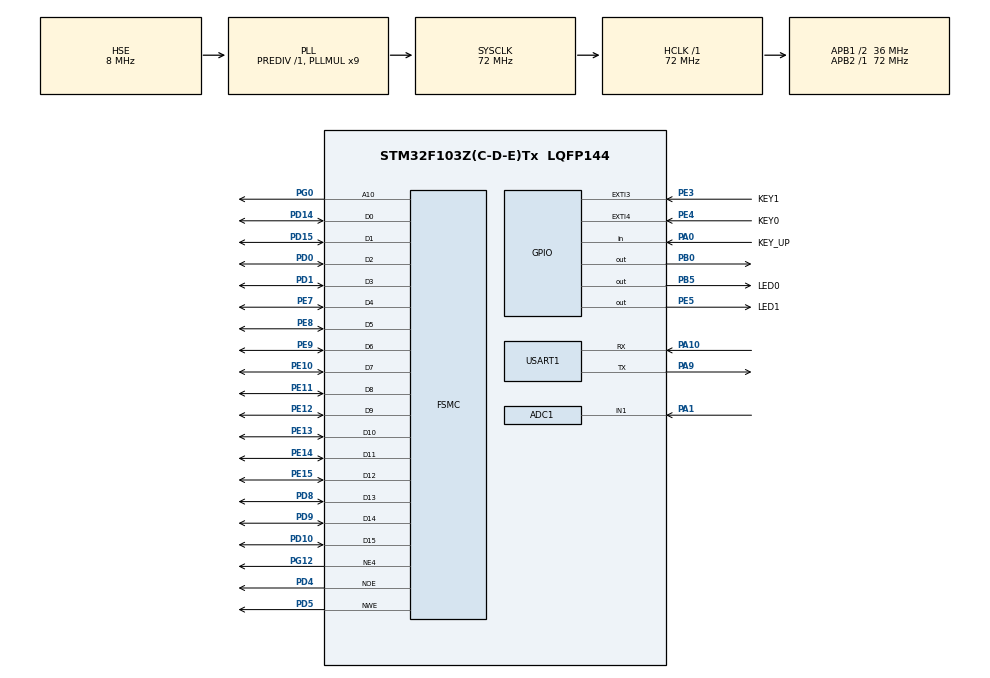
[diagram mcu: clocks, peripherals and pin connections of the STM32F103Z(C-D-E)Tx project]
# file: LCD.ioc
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ADC1.Channel-0\#ChannelRegularConversion=ADC_CHANNEL_1
ADC1.NbrOfConversionFlag=1
ADC1.Rank-0\#ChannelRegularConversion=1
ADC1.SamplingTime-0\#ChannelRegularConversion=ADC_SAMPLETIME_1CYCLE_5
ADC1.master=1
FSMC.AddressSetupTime1=6
FSMC.BusTurnAroundDuration1=0
FSMC.DataSetupTime1=26
FSMC.ExtendedAddressSetupTime1=3
FSMC.ExtendedBusTurnAroundDuration1=0
FSMC.ExtendedDataSetupTime1=6
FSMC.ExtendedMode1=FSMC_EXTENDED_MODE_ENABLE
Mcu.Family=STM32F1
Mcu.Name=STM32F103Z(C-D-E)Tx
Mcu.Package=LQFP144
NVIC.EXTI3_IRQn=true\:2\:1\:true\:false\:true\:true\:true
NVIC.EXTI4_IRQn=true\:2\:0\:true\:false\:true\:true\:true
NVIC.PriorityGroup=NVIC_PRIORITYGROUP_2
NVIC.TIM3_IRQn=true\:2\:2\:true\:false\:true\:true\:true
OSC_IN.Mode=HSE-External-Oscillator
OSC_IN.Signal=RCC_OSC_IN
OSC_OUT.Mode=HSE-External-Oscillator
OSC_OUT.Signal=RCC_OSC_OUT
PA0-WKUP.GPIO_Label=KEY_UP
PA0-WKUP.GPIO_PuPd=GPIO_PULLDOWN
PA0-WKUP.Signal=GPIO_Input
PA1.Signal=ADCx_IN1
PA10.Mode=Asynchronous
PA10.Signal=USART1_RX
PA13.Mode=Serial_Wire
PA13.Signal=SYS_JTMS-SWDIO
PA14.Mode=Serial_Wire
PA14.Signal=SYS_JTCK-SWCLK
PA9.Mode=Asynchronous
PA9.Signal=USART1_TX
PB0.GPIO_Speed=GPIO_SPEED_FREQ_HIGH
PB0.Signal=GPIO_Output
PB5.GPIO_Label=LED0
PB5.PinState=GPIO_PIN_SET
PB5.Signal=GPIO_Output
PC14-OSC32_IN.Mode=LSE-External-Oscillator
PC14-OSC32_IN.Signal=RCC_OSC32_IN
PC15-OSC32_OUT.Mode=LSE-External-Oscillator
PC15-OSC32_OUT.Signal=RCC_OSC32_OUT
PD0.Signal=FSMC_D2_DA2
PD1.Signal=FSMC_D3_DA3
PD10.Signal=FSMC_D15_DA15
PD14.Signal=FSMC_D0_DA0
PD15.Signal=FSMC_D1_DA1
PD4.Signal=FSMC_NOE
PD5.Signal=FSMC_NWE
PD8.Signal=FSMC_D13_DA13
PD9.Signal=FSMC_D14_DA14
PE10.Signal=FSMC_D7_DA7
PE11.Signal=FSMC_D8_DA8
PE12.Signal=FSMC_D9_DA9
PE13.Signal=FSMC_D10_DA10
PE14.Signal=FSMC_D11_DA11
PE15.Signal=FSMC_D12_DA12
PE3.GPIO_Label=KEY1
PE3.GPIO_ModeDefaultEXTI=GPIO_MODE_IT_FALLING
PE3.GPIO_PuPd=GPIO_PULLUP
PE3.Signal=GPXTI3
PE4.GPIO_Label=KEY0
PE4.GPIO_ModeDefaultEXTI=GPIO_MODE_IT_FALLING
PE4.GPIO_PuPd=GPIO_PULLUP
PE4.Signal=GPXTI4
PE5.GPIO_Label=LED1
PE5.PinState=GPIO_PIN_SET
PE5.Signal=GPIO_Output
PE7.Signal=FSMC_D4_DA4
PE8.Signal=FSMC_D5_DA5
PE9.Signal=FSMC_D6_DA6
PG0.Signal=FSMC_A10
PG12.Mode=NorPsramChipSelect4_1
PG12.Signal=FSMC_NE4
ProjectManager.HeapSize=0x200
ProjectManager.StackSize=0x400
ProjectManager.TargetToolchain=MDK-ARM V5
RCC.ADCPresc=RCC_ADCPCLK2_DIV6
RCC.AHBFreq_Value=72000000
RCC.APB1CLKDivider=RCC_HCLK_DIV2
RCC.APB1Freq_Value=36000000
RCC.APB1TimFreq_Value=72000000
RCC.APB2Freq_Value=72000000
RCC.APB2TimFreq_Value=72000000
RCC.HCLKFreq_Value=72000000
RCC.PLLMUL=RCC_PLL_MUL9
RCC.PLLSourceVirtual=RCC_PLLSOURCE_HSE
RCC.SYSCLKFreq_VALUE=72000000
RCC.SYSCLKSource=RCC_SYSCLKSOURCE_PLLCLK
RCC.USBFreq_Value=72000000
SH.ADCx_IN1.0=ADC1_IN1,IN1
SH.FSMC_A10.0=FSMC_A10,A10_1
SH.FSMC_D0_DA0.0=FSMC_D0,16b-d1
SH.FSMC_D10_DA10.0=FSMC_D10,16b-d1
SH.FSMC_D11_DA11.0=FSMC_D11,16b-d1
SH.FSMC_D12_DA12.0=FSMC_D12,16b-d1
SH.FSMC_D13_DA13.0=FSMC_D13,16b-d1
SH.FSMC_D14_DA14.0=FSMC_D14,16b-d1
SH.FSMC_D15_DA15.0=FSMC_D15,16b-d1
SH.FSMC_D1_DA1.0=FSMC_D1,16b-d1
SH.FSMC_D2_DA2.0=FSMC_D2,16b-d1
SH.FSMC_D3_DA3.0=FSMC_D3,16b-d1
SH.FSMC_D4_DA4.0=FSMC_D4,16b-d1
SH.FSMC_D5_DA5.0=FSMC_D5,16b-d1
SH.FSMC_D6_DA6.0=FSMC_D6,16b-d1
SH.FSMC_D7_DA7.0=FSMC_D7,16b-d1
SH.FSMC_D8_DA8.0=FSMC_D8,16b-d1
SH.FSMC_D9_DA9.0=FSMC_D9,16b-d1
SH.FSMC_NOE.0=FSMC_NOE,Lcd1
SH.FSMC_NWE.0=FSMC_NWE,Lcd1
TIM3.AutoReloadPreload=TIM_AUTORELOAD_PRELOAD_ENABLE
TIM3.Period=999
TIM3.Prescaler=71
USART1.VirtualMode=VM_ASYNC
VP_TIM3_VS_ClockSourceINT.Mode=Internal
board=custom

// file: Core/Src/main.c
/* USER CODE BEGIN Header */
/**
  ******************************************************************************
  * @file           : main.c
  * @brief          : Main program body
  ******************************************************************************
  * @attention
  *
  * <h2><center>&copy; Copyright (c) 2021 STMicroelectronics.
  * All rights reserved.</center></h2>
  *
  * This software component is licensed by ST under BSD 3-Clause license,
  * the "License"; You may not use this file except in compliance with the
  * License. You may obtain a copy of the License at:
  *                        opensource.org/licenses/BSD-3-Clause
  *
  ******************************************************************************
  */
/* USER CODE END Header */
#include "main.h"
#include "adc.h"
#include "tim.h"
#include "usart.h"
#include "gpio.h"
#include "fsmc.h"

/* USER CODE BEGIN Includes */
#include "ILI93xx.h"
#include "string.h"
#include "stdio.h"
#include "stm32_dsp.h"
#include "table_fft.h"
#include "math.h"
/* USER CODE END Includes */

/* USER CODE BEGIN PTD */

#define NPT 1024   				         //一次采集的点数
#define PI2 6.28318530717959

uint16_t i;
uint32_t adcx[NPT];					      //存储adc数据
uint32_t adcmax = 0;					    //最大值
uint32_t adcmin = 3300;				    //最小值
uint16_t vpp = 0;					        //峰峰值变量
int long fftin [NPT];			        //FFT输入
int long fftout[NPT];			        //FFT输出
uint32_t magout[NPT];
uint32_t magout2[NPT];
uint16_t t = 0;			              //定时器中断3计数变量
uint16_t Set_T = 1000;	          //TIM3自动重装载值
uint16_t Show_T = 1;		          //采样率变量，单位KHZ
uint32_t F = 0;			              //频率值
double U = 40.96;			            //计算转化值
uint16_t V = 660;		              //分度单位660mv/div
uint16_t get_v=0;	              	//获得显示电压
uint16_t save_v=0;	            	//存储电压
uint8_t  flag=0;			            //采集频率标志
uint8_t  adc_flag=0;	          	//采集允许标志位
uint8_t  clear_flag=1;	          //Hold on标志位，0——>Hold on
uint16_t table[25] ={16,32,48,64,80,96,112,128,144,160,176,192,208,224,240,256,272,288,304,320,336,352,368,384,400};//刻度X坐标数组
uint16_t h=0;			//数组下标

/* USER CODE END PTD */

void SystemClock_Config(void);

int main(void)
{

  /* MCU Configuration--------------------------------------------------------*/

  /* Reset of all peripherals, Initializes the Flash interface and the Systick. */
  HAL_Init();

  /* Configure the system clock */
  SystemClock_Config();

  /* Initialize all configured peripherals */
  MX_GPIO_Init();
  MX_FSMC_Init();
  MX_ADC1_Init();
  MX_USART1_UART_Init();
  MX_TIM3_Init();
  /* USER CODE BEGIN 2 */
 	TFTLCD_Init();                                        	//屏幕初始化

  __HAL_TIM_ENABLE_IT(&htim3 , TIM_IT_UPDATE);	          //允许更新中断
  HAL_TIM_Base_Start(&htim3);	                            //打开定时器tim3

	POINT_COLOR=RED;                                        //屏幕测试
	LCD_ShowString(60,40,210,24,24,"Elite STM32F1 ^_^");
	LCD_ShowString(82,80,200,24,24,"Mini OSC TEST");
	LCD_ShowString(107,120,200,16,16,"ATOM@ALIENTEK");
	LCD_ShowString(117,145,200,16,16,"By YYQ");
	LCD_ShowString(137,170,200,12,12,"2021/7/22");
	HAL_Delay(1000);

	LCD_Clear(WHITE);                                       //清屏为白色
	lcd_init(); 			                                      //画好示波器基本屏幕

  /* USER CODE END 2 */

  /* Infinite loop */
  while (1)
  {

    /* USER CODE BEGIN 3 */
		while(adc_flag == 0);			                           //等待数据采集完成
        adc_flag=0;
		for(i=0;i<NPT;i++)				                           //NPT，一次采集1024个点，确定max与min
		{
			fftin[i] = 0;
			fftin[i] = adcx[i] << 16;
		}
		GetPowerMag();                                       //进行快速傅里叶变换
		adcmax=adcmax*3300/4096;
		adcmin=adcmin*3300/4096;   	                         //将ADC值转化为电压值，单位 mv
    LCD_ShowNum(430,122,adcmax,4,16);                    //显示最大值
		LCD_ShowNum(430,157,adcmin,4,16);                    //显示最小值

		vpp=adcmax-adcmin;
	  LCD_ShowNum(430,87,vpp,4,16);				                 //显示峰峰值
		clear_point();    							                     //更新显示屏当前列

	  HAL_GPIO_TogglePin(LED0_GPIO_Port,LED0_Pin)	;        //翻转LED电平，采集一次灯闪一下

		__HAL_TIM_ENABLE(&htim3);   						             //使能定时器3
		adcmax = 0;	adcmin = 3300;		    		               //清除极值

 }
  /* USER CODE END 3 */
}

void SystemClock_Config(void)
{
  RCC_OscInitTypeDef RCC_OscInitStruct = {0};
  RCC_ClkInitTypeDef RCC_ClkInitStruct = {0};
  RCC_PeriphCLKInitTypeDef PeriphClkInit = {0};

  /** Initializes the RCC Oscillators according to the specified parameters
  * in the RCC_OscInitTypeDef structure.
  */
  RCC_OscInitStruct.OscillatorType = RCC_OSCILLATORTYPE_HSE;
  RCC_OscInitStruct.HSEState = RCC_HSE_ON;
  RCC_OscInitStruct.HSEPredivValue = RCC_HSE_PREDIV_DIV1;
  RCC_OscInitStruct.HSIState = RCC_HSI_ON;
  RCC_OscInitStruct.PLL.PLLState = RCC_PLL_ON;
  RCC_OscInitStruct.PLL.PLLSource = RCC_PLLSOURCE_HSE;
  RCC_OscInitStruct.PLL.PLLMUL = RCC_PLL_MUL9;
  if (HAL_RCC_OscConfig(&RCC_OscInitStruct) != HAL_OK)
  {
    Error_Handler();
  }
  /** Initializes the CPU, AHB and APB buses clocks
  */
  RCC_ClkInitStruct.ClockType = RCC_CLOCKTYPE_HCLK|RCC_CLOCKTYPE_SYSCLK
                              |RCC_CLOCKTYPE_PCLK1|RCC_CLOCKTYPE_PCLK2;
  RCC_ClkInitStruct.SYSCLKSource = RCC_SYSCLKSOURCE_PLLCLK;
  RCC_ClkInitStruct.AHBCLKDivider = RCC_SYSCLK_DIV1;
  RCC_ClkInitStruct.APB1CLKDivider = RCC_HCLK_DIV2;
  RCC_ClkInitStruct.APB2CLKDivider = RCC_HCLK_DIV1;

  if (HAL_RCC_ClockConfig(&RCC_ClkInitStruct, FLASH_LATENCY_2) != HAL_OK)
  {
    Error_Handler();
  }
  PeriphClkInit.PeriphClockSelection = RCC_PERIPHCLK_ADC;
  PeriphClkInit.AdcClockSelection = RCC_ADCPCLK2_DIV6;
  if (HAL_RCCEx_PeriphCLKConfig(&PeriphClkInit) != HAL_OK)
  {
    Error_Handler();
  }
}

/* USER CODE BEGIN 4 */

void lcd_init(void)
{
	POINT_COLOR=RED;

	LCD_ShowString(150,8,200,24,24,"Mini_OSC");	      //示波器
	LCD_ShowString(320,18,200,16,16,"INPUT:PA1");     //采集端口（PA1）
	LCD_ShowString(410,35,200,16,16,"mV/div:");		    //毫伏/每格
	LCD_ShowString(410,70,200,16,16,"vpp/mv:");		    //峰峰值/毫伏
	LCD_ShowString(410,105,200,16,16,"max/mv:");		  //最大值
	LCD_ShowString(410,140,200,16,16,"min/mv:");	    //最小值
	LCD_ShowString(410,175,200,16,16,"f/Hz:");	      //频率/Hz
	LCD_ShowString(410,210,200,16,16,"OSR:");  		    //采样率

  LCD_ShowString(410,245,200,16,16,"THD=");         //总谐波失真度
	/*
	LCD_ShowString(20,280,200,168,24,"uo1=");
  LCD_ShowString(300,280,200,168,24,"uo2=");
	LCD_ShowString(20,310,200,168,24,"uo3=");
	LCD_ShowString(300,310,200,168,24,"uo4=");
	LCD_ShowString(168,340,200,168,24,"uo5=");
 */
	POINT_COLOR=BLUE;
	lcd_huaxian(0,0,0,240);				                    //画4条边框线
	lcd_huaxian(400,0,400,240);
	lcd_huaxian(0,0,400,0);
	lcd_huaxian(0,240,400,240);

  POINT_COLOR=BLUE;
	LCD_ShowString(448,227,120,16,16,"kHz");
	LCD_ShowString(420,10,200,16,16,"WORK");

	LCD_ShowNum(420,227,Show_T,3,16);		              //首次ADC采样频率
	LCD_ShowNum(430,52,V,3,16);				                //分度单位660mv/div
}

void clear_point(void)                              //更新显示屏当前列
{
	uint16_t x=0;

	for(x=0;x<400 && clear_flag;x++)
	{
		POINT_COLOR=WHITE;
		lcd_huaxian(x  ,3,x  ,237);		                  //删除原始线条，除上下两条边框

		POINT_COLOR=BLUE;
		lcd_huaxian(0,0,0,240);			                    //画左边框
		lcd_huadian(x,120);				                      //画中线

		if(x == table[h])				                        //画刻度，横上、中、下线
		{
			lcd_huaxian(x,1,x,3);
			lcd_huaxian(x,121,x,123);
			lcd_huaxian(x,237,x,239);
			h++;
			if(h>=25) h=0;
		}
		if(x==200) 						                          //画刻度竖中线
		{
			lcd_huaxian(x,1,x,239);
			for(i=20;i<240;i+=20)
			{
				lcd_huaxian(198,i,200,i);
			}
		}

		get_v = adcx[x]/U+(120-((adcmax-adcmin)/(2*U)));

//		lcd_huadian(x,get_v);					                //画点
		lcd_huaxian(x,save_v,x+1,get_v);	            	//画线，方便观察
		save_v = get_v;							                    //存储待用
//     HAL_Delay(10);
	}
}

void lcd_huadian(uint16_t a,uint16_t b)			                        //坐标原点重定义画点，重定义在280处
{
	LCD_Fast_DrawPoint(a,280-b,BLUE);
}

void lcd_huaxian(uint16_t x1,uint16_t y1,uint16_t x2,uint16_t y2)	 //坐标原点重定义画线
{
	LCD_DrawLine(x1,280-y1,x2,280-y2);
}

/******************************************************************
函数名称:GetPowerMag()
函数功能:计算各次谐波幅值
参数说明:
备　　注:先将lBufOutArray分解成实部(X)和虚部(Y)，然后计算幅值(sqrt(X*X+Y*Y)
*******************************************************************/
void GetPowerMag(void)
{
	uint16_t temp = 0;
	int THD;
	float THD_1=0;
  float X,Y;
	float ret;
	double Mag,magmax[5]={0};
  unsigned short i,j,min=0;
	cr4_fft_1024_stm32(fftout, fftin, NPT);  	   //调用自cr4_fft_1024_stm32
    for(i=1; i<NPT/2; i++)
    {
        X  = (fftout[i] << 16) >> 16;
        Y  = (fftout[i] >> 16);
        Mag = sqrt(X * X + Y * Y);
		if(Mag>magmax[min])                       //新数大于第五大数
		{
			magmax[min]=Mag;                        //第五大数换成新数
			temp = i;
			for(j=0;j<5;j++)
			{                                       //找到新的第五大数
				if(magmax[j]<magmax[min])
					{
  						min=j;
					}
			}
		}
    }
		for(i=1;i<5;i++)
		{
				ret=magmax[i]/magmax[0];
			  if(ret>0.01)				                  //提高精度
				THD_1=THD_1+ret*ret;
		}
	THD_1=sqrt(THD_1);
	//计算频率
	if(Set_T==1000)		F=(uint32_t)((double)temp/NPT*1000  );
	if(Set_T==100)		F=(uint32_t)((double)temp/NPT*10010 );
	if(Set_T==10)	    F=(uint32_t)((double)temp/NPT*100200);
	if(Set_T==2)		  F=(uint32_t)((double)temp/NPT*249760);

	LCD_ShowNum(420,192,F,5,16);                      //显示频率
  THD=THD_1*10000;
  POINT_COLOR=BLUE;                                 //显示总谐波失真度
	LCD_ShowNum(420,262,THD/100,2,16);
	LCD_ShowString(438,262,16,16,16,".");
	LCD_ShowNum(444,262,THD%100,2,16);
	LCD_ShowString(462,262,16,16,16,"%");
	/*
  LCD_ShowNum(80,280,sqrt(magmax[0]*7260),5,24);    //计算并显示一次谐波分量
	LCD_ShowNum(380,280,sqrt(magmax[1]*7260),5,24);   //计算并显示二次谐波分量
	LCD_ShowNum(80,310,sqrt(magmax[2]*7260),5,24);    //计算并显示三次谐波分量
	LCD_ShowNum(380,310,sqrt(magmax[3]*7260),5,24);   //计算并显示四次谐波分量
	LCD_ShowNum(228,340,sqrt(magmax[4]*7260),5,24);   //计算并显示五次谐波分量
	*/
}

//定时器3中断服务程序
//每隔采样频率采样一次
void  TIM3_IRQHandler(void)
{

	if( __HAL_TIM_GET_FLAG(&htim3,1))
	{
	//	adcx[t]=Get_Adc(ADC_CH1);		    	 	          //单次采样
		adcx[t]=getADC(&hadc1, 3 );		                  //多次采样取均值

		if(adcx[t] >= adcmax)		adcmax = adcx[t];       //获取极值
		if(adcx[t] <= adcmin)		adcmin = adcx[t];

		t++;
		if(t==NPT)
		{
			t=0;
			adc_flag = 1;
			__HAL_TIM_DISABLE(&htim3);                    //失能定时器3
		}
	}
   __HAL_TIM_CLEAR_FLAG(&htim3, 1);                 //清除定时器的中断标志位

}

//外部中断3服务程序
void EXTI3_IRQHandler(void)
{
	HAL_Delay(10);                   	               //消抖
	POINT_COLOR=BLUE;
	if(KEY1==0)	 	                                   //按键KEY1
	{
		if(clear_flag == 1)
		{
			__HAL_TIM_DISABLE(&htim3);                   //失能定时器3

			clear_flag=0;
			LCD_ShowString(420,10,200,16,16,"STOP  ");
		}
		else
		{
			__HAL_TIM_ENABLE(&htim3);                    //使能定时器3

			clear_flag=1;
			LCD_ShowString(420,10,200,16,16,"WORK");
		}
	}
	__HAL_GPIO_EXTI_CLEAR_FLAG(KEY1_Pin);           //清除LINE3上的中断标志位
}

//外部中断4服务程序
void EXTI4_IRQHandler(void)
{
	HAL_Delay(10);	                               //消抖
	if(KEY0==0)	 	                                 //按键KEY0
	{
		POINT_COLOR=BLUE;
		flag++;
		if(flag==1)
		{
			Set_T = 100;
			Show_T = 10;
		}
		else if(flag==2)
		{
			Set_T=10;
			Show_T = 100;
		}
		else if(flag==3)
		{
			Set_T=2;
			Show_T = 500;
		}
		else if(flag==4)
		{
			Set_T=1000;
			Show_T = 1;
			flag=0;
		}
		LCD_ShowNum(420,227,Show_T,3,16);
    __HAL_TIM_SET_AUTORELOAD(&htim3,Set_T-1);		//设定计数器自动重装值

	}
	__HAL_GPIO_EXTI_CLEAR_FLAG(KEY0_Pin);  		  	//清除LINE4上的中断标志位
}

/* USER CODE END 4 */

void Error_Handler(void)
{
  __disable_irq();
  while (1)
  {
  }
}

/************************ (C) COPYRIGHT STMicroelectronics *****END OF FILE****/
